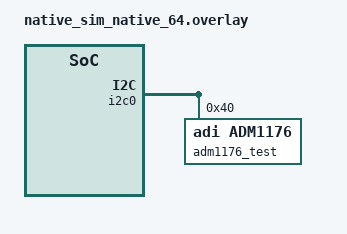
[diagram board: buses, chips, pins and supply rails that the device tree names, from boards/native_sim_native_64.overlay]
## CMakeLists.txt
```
# SPDX-License-Identifier: Apache-2.0

cmake_minimum_required(VERSION 3.20.0)

get_filename_component(ARGUS_ROOT "${CMAKE_CURRENT_LIST_DIR}/../../.." ABSOLUTE)
list(APPEND DTS_ROOT ${ARGUS_ROOT})

find_package(Zephyr REQUIRED HINTS $ENV{ZEPHYR_BASE})
project(adm1176_tests)

target_sources(app PRIVATE
        src/main.c
        src/adm1176_emul.c
        ../../../src/drivers/adm1176.c
)

target_include_directories(app PRIVATE
        ${ARGUS_ROOT}/include
)
```

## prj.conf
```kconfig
CONFIG_ZTEST=y
CONFIG_I2C=y
CONFIG_EMUL=y
CONFIG_SENSOR=y
```

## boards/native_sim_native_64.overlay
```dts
/* SPDX-License-Identifier: Apache-2.0 */

&i2c0 {
	adm1176_test: adm1176@40 {
		compatible = "adi,adm1176";
		reg = <0x40>;
		rshunt-micro-ohms = <10000>;
		status = "okay";
	};
};
```

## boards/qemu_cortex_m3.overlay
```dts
/* SPDX-License-Identifier: Apache-2.0 */

#include <zephyr/dt-bindings/i2c/i2c.h>

/ {
	i2c0: i2c@100 {
		compatible = "zephyr,i2c-emul-controller";
		reg = <0x100 4>;
		clock-frequency = <I2C_BITRATE_STANDARD>;
		#address-cells = <1>;
		#size-cells = <0>;
		status = "okay";

		adm1176_test: adm1176@40 {
			compatible = "adi,adm1176";
			reg = <0x40>;
			rshunt-micro-ohms = <10000>;
			status = "okay";
		};
	};
};
```

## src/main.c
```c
/* SPDX-License-Identifier: Apache-2.0 */

#include <errno.h>
#include <zephyr/drivers/sensor.h>
#include <zephyr/ztest.h>
#include "adm1176_emul.h"
#include "argus/drivers/adm1176.h"

static const struct device *const dev = DEVICE_DT_GET(DT_NODELABEL(adm1176_test));
static const struct emul *const emul = EMUL_DT_GET(DT_NODELABEL(adm1176_test));
static struct adm1176_emul_state *s;

static void *setup(void)
{
	s = adm1176_emul_state(emul);
	zassert_true(device_is_ready(dev));
	zassert_equal(s->command, 0x05);
	zassert_equal(s->alert_enable, 0x04);
	zassert_equal(s->control, 0);
	zassert_equal(adm1176_overcurrent_level(dev), 0xFF);
	return NULL;
}

static void before(void *fixture)
{
	ARG_UNUSED(fixture);
	adm1176_emul_reset(emul);
	zassert_ok(adm1176_config(dev, ADM1176_V_CONT | ADM1176_I_CONT));
	zassert_ok(adm1176_set_overcurrent_level(dev, 0xFF));
}

ZTEST(adm1176, test_voltage_current_and_12_bit_decode)
{
	struct sensor_value value;

	s->sample[0] = 0x80;
	s->sample[1] = 0x40; /* Regression: widen the high byte before shifting. */
	zassert_ok(sensor_sample_fetch(dev));
	zassert_ok(sensor_channel_get(dev, SENSOR_CHAN_VOLTAGE, &value));
	zassert_equal(sensor_value_to_micro(&value), 13175000);
	zassert_ok(sensor_channel_get(dev, SENSOR_CHAN_CURRENT, &value));
	zassert_equal(sensor_value_to_micro(&value), 2646000);
	s->sample[0] = 0xFF;
	s->sample[1] = 0xFF;
	s->sample[2] = 0xFF;
	zassert_ok(sensor_sample_fetch(dev));
	zassert_ok(sensor_channel_get(dev, SENSOR_CHAN_VOLTAGE, &value));
	zassert_equal(sensor_value_to_micro(&value), 26343566);
	zassert_ok(sensor_channel_get(dev, SENSOR_CHAN_CURRENT, &value));
	zassert_equal(sensor_value_to_micro(&value), 10581416);
}

ZTEST(adm1176, test_low_range_and_once_configuration)
{
	struct sensor_value value;

	zassert_ok(adm1176_config(dev, ADM1176_V_ONCE | ADM1176_I_ONCE | ADM1176_VRANGE));
	zassert_equal(s->command, 0x1A);
	s->sample[0] = 0x80;
	zassert_ok(sensor_sample_fetch(dev));
	zassert_ok(sensor_channel_get(dev, SENSOR_CHAN_VOLTAGE, &value));
	zassert_equal(sensor_value_to_micro(&value), 3325000);
}

ZTEST(adm1176, test_single_channel_read_formats)
{
	struct sensor_value value;

	s->sample[0] = 0x80;
	s->sample[1] = 0x40;
	s->sample[2] = 0xAB;
	zassert_ok(adm1176_config(dev, ADM1176_V_CONT));
	zassert_ok(sensor_sample_fetch(dev));
	zassert_ok(sensor_channel_get(dev, SENSOR_CHAN_VOLTAGE, &value));
	zassert_equal(sensor_value_to_micro(&value), 13239331);
	zassert_equal(sensor_channel_get(dev, SENSOR_CHAN_CURRENT, &value), -ENOTSUP);
	zassert_ok(adm1176_config(dev, ADM1176_I_CONT));
	zassert_ok(sensor_sample_fetch(dev));
	zassert_ok(sensor_channel_get(dev, SENSOR_CHAN_CURRENT, &value));
	zassert_equal(sensor_value_to_micro(&value), 2674423);
}

ZTEST(adm1176, test_status_preserves_measurement_configuration)
{
	uint8_t status;

	zassert_ok(adm1176_config(dev, 0x15));
	s->status = 0x3F;
	zassert_ok(adm1176_status(dev, &status));
	zassert_equal(status, 0x3F);
	zassert_equal(s->command, 0x15);
}

ZTEST(adm1176, test_output_switching_and_i2c_error)
{
	bool on;

	zassert_ok(adm1176_set_device_on(dev, false));
	zassert_equal(s->control, 1);
	zassert_ok(adm1176_device_on(dev, &on));
	zassert_false(on);
	zassert_ok(adm1176_set_device_on(dev, true));
	zassert_equal(s->command, 0x05);
	zassert_ok(adm1176_device_on(dev, &on));
	zassert_true(on);
	s->error = -EIO;
	zassert_equal(adm1176_set_device_on(dev, false), -EIO);
	zassert_equal(s->control, 0);
}

ZTEST(adm1176, test_raw_threshold_and_clear)
{
	zassert_ok(adm1176_set_overcurrent_level(dev, 128));
	zassert_equal(s->threshold, 128);
	zassert_equal(adm1176_overcurrent_level(dev), 128);
	s->status = 0x2A;
	zassert_ok(adm1176_clear(dev));
	zassert_equal(s->status, 0);
	zassert_equal(s->alert_enable, 0x06);
	zassert_equal(adm1176_overcurrent_level(dev), 128);
}

ZTEST(adm1176, test_rejects_invalid_config_and_unsupported_channels)
{
	struct sensor_value value;

	zassert_equal(adm1176_config(dev, 0x40), -EINVAL);
	zassert_equal(s->command, 0x05);
	zassert_equal(sensor_sample_fetch_chan(dev, SENSOR_CHAN_POWER), -ENOTSUP);
	zassert_equal(sensor_channel_get(dev, SENSOR_CHAN_POWER, &value), -ENOTSUP);
	s->error = -EIO;
	zassert_equal(adm1176_config(dev, 0x15), -EIO);
	zassert_ok(sensor_sample_fetch(dev));
	zassert_equal(s->command, 0x05);
	zassert_ok(adm1176_config(dev, 0));
	zassert_equal(sensor_sample_fetch(dev), -ENOTSUP);
}

ZTEST(adm1176, test_failed_sample_invalidates_cache_and_recovers)
{
	struct sensor_value value;

	zassert_equal(sensor_channel_get(dev, SENSOR_CHAN_VOLTAGE, &value), -ENODATA);
	zassert_ok(sensor_sample_fetch(dev));
	s->error = -EIO;
	zassert_equal(sensor_sample_fetch(dev), -EIO);
	zassert_equal(sensor_channel_get(dev, SENSOR_CHAN_VOLTAGE, &value), -ENODATA);
	zassert_ok(sensor_sample_fetch(dev));
	zassert_ok(sensor_channel_get(dev, SENSOR_CHAN_VOLTAGE, &value));
}

ZTEST(adm1176, test_status_restore_failure_recovers_on_next_sample)
{
	uint8_t status;

	s->error = -EIO;
	s->skip = 2;
	zassert_equal(adm1176_status(dev, &status), -EIO);
	zassert_equal(s->command, 0x45);
	zassert_ok(sensor_sample_fetch(dev));
	zassert_equal(s->command, 0x05);
}

ZTEST(adm1176, test_status_read_failure_still_restores_command)
{
	uint8_t status;

	s->error = -ETIMEDOUT;
	s->skip = 1;
	zassert_equal(adm1176_status(dev, &status), -ETIMEDOUT);
	zassert_equal(s->command, 0x05);
}

ZTEST(adm1176, test_failed_threshold_writes_keep_last_successful_cache)
{
	zassert_ok(adm1176_set_overcurrent_level(dev, 128));
	for (unsigned int skip = 0; skip < 2; skip++) {
		s->error = -EIO;
		s->skip = skip;
		zassert_equal(adm1176_set_overcurrent_level(dev, 200), -EIO);
		zassert_equal(adm1176_overcurrent_level(dev), 128);
	}
	zassert_ok(adm1176_set_overcurrent_level(dev, 200));
	zassert_equal(adm1176_overcurrent_level(dev), 200);
}

ZTEST(adm1176, test_device_errors_reports_and_clears_adc_alert)
{
	struct adm1176_errors errors;

	s->status = ADM1176_STATUS_ADC_ALERT;
	zassert_ok(adm1176_device_errors(dev, &errors));
	zassert_equal(errors.count, 1);
	zassert_equal(errors.codes[0], 0x16); /* Original Python error code. */
	zassert_equal(s->status, 0);
	zassert_ok(adm1176_device_errors(dev, &errors));
	zassert_equal(errors.count, 0);
	s->status = ADM1176_STATUS_HOT_SWAP_ALERT;
	zassert_ok(adm1176_device_errors(dev, &errors));
	zassert_equal(errors.count, 0); /* Python reports only ADC_ALERT here. */
	zassert_equal(s->status, ADM1176_STATUS_HOT_SWAP_ALERT);
}

ZTEST(adm1176, test_device_errors_propagates_read_and_clear_failures)
{
	struct adm1176_errors errors = {.count = 1, .codes = {0x16}};

	s->status = ADM1176_STATUS_ADC_ALERT;
	s->error = -ETIMEDOUT;
	s->skip = 1;
	zassert_equal(adm1176_device_errors(dev, &errors), -ETIMEDOUT);
	zassert_equal(errors.count, 0);
	zassert_equal(s->status, ADM1176_STATUS_ADC_ALERT);
	s->status = ADM1176_STATUS_ADC_ALERT;
	s->error = -EIO;
	s->skip = 3; /* Status succeeds; the following CLEAR write fails. */
	zassert_equal(adm1176_device_errors(dev, &errors), -EIO);
	zassert_equal(errors.count, 1);
	zassert_equal(errors.codes[0], 0x16);
	zassert_equal(s->status, ADM1176_STATUS_ADC_ALERT);
}

ZTEST_SUITE(adm1176, NULL, setup, before, NULL, NULL);
```

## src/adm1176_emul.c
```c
/* SPDX-License-Identifier: Apache-2.0 */

#define DT_DRV_COMPAT adi_adm1176

#include "adm1176_emul.h"

#include <errno.h>
#include <string.h>
#include <zephyr/drivers/i2c.h>
#include <zephyr/drivers/i2c_emul.h>

struct adm1176_emul_state *adm1176_emul_state(const struct emul *emul)
{
	return emul->data;
}

void adm1176_emul_reset(const struct emul *emul)
{
	struct adm1176_emul_state *s = emul->data;

	memset(s, 0, sizeof(*s));
	s->alert_enable = 0x04;
	s->threshold = 0xFF;
}

static int transfer(const struct emul *emul, struct i2c_msg *msgs, int count, int addr)
{
	struct adm1176_emul_state *s = emul->data;
	struct i2c_msg *m = msgs;

	ARG_UNUSED(addr);
	if (s->error != 0) {
		if (s->skip == 0) {
			int error = s->error;

			s->error = 0;
			return error;
		}
		s->skip--;
	}
	if (count != 1) {
		return -EINVAL;
	}
	if (m->flags & I2C_MSG_READ) {
		bool voltage = (s->command & 0x03) != 0;
		bool current = (s->command & 0x0C) != 0;

		if (s->command & 0x40) {
			if (m->len != 1) {
				return -EIO;
			}
			m->buf[0] = s->status;
		} else if (voltage && current && m->len == 3) {
			memcpy(m->buf, s->sample, 3);
		} else if ((voltage || current) && m->len == 2) {
			m->buf[0] = s->sample[voltage ? 0 : 1];
			m->buf[1] = voltage ? (s->sample[2] & 0xF0) :
				((s->sample[2] & 0x0F) << 4);
		} else {
			return -EIO;
		}
		return 0;
	}
	if (m->len == 1) {
		s->command = m->buf[0];
		return 0;
	}
	if (m->len != 2) {
		return -EINVAL;
	}
	switch (m->buf[0]) {
	case 0x81:
		if (m->buf[1] & 0x10) {
			s->status &= ~0x2A; /* Clear latched alerts, with no active fault. */
		}
		s->alert_enable = m->buf[1] & ~0x10; /* CLEAR self-clears. */
		break;
	case 0x82:
		s->threshold = m->buf[1];
		break;
	case 0x83:
		s->control = m->buf[1];
		s->status = (s->status & ~0x10) | ((s->control & 1) << 4);
		break;
	default:
		return -EINVAL;
	}
	return 0;
}

static int init(const struct emul *emul, const struct device *parent)
{
	ARG_UNUSED(parent);
	adm1176_emul_reset(emul);
	return 0;
}

static const struct i2c_emul_api api = {.transfer = transfer};

#define ADM1176_EMUL_DEFINE(inst) \
	static struct adm1176_emul_state state_##inst; \
	EMUL_DT_INST_DEFINE(inst, init, &state_##inst, NULL, &api, NULL)

DT_INST_FOREACH_STATUS_OKAY(ADM1176_EMUL_DEFINE)
```

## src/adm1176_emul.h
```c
/* SPDX-License-Identifier: Apache-2.0 */

#ifndef ADM1176_EMUL_H_
#define ADM1176_EMUL_H_

#include <stdint.h>
#include <zephyr/drivers/emul.h>

/* Test-only device state; skip successful transfers before injecting error. */
struct adm1176_emul_state {
	uint8_t sample[3];
	uint8_t command, status, alert_enable, threshold, control;
	unsigned int skip;
	int error;
};

struct adm1176_emul_state *adm1176_emul_state(const struct emul *emul);
void adm1176_emul_reset(const struct emul *emul);

#endif
```

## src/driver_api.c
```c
/*
 * Copyright (c) 2026 Carnegie Mellon University
 *
 * SPDX-License-Identifier: Apache-2.0
 */

#include <errno.h>
#include <stdint.h>

#include <zephyr/device.h>
#include <zephyr/devicetree.h>
#include <zephyr/drivers/emul.h>
#include <zephyr/drivers/sensor.h>
#include <zephyr/init.h>
#include <zephyr/ztest.h>

#include "adm1176_emul.h"
#include "argus/drivers/adm1176.h"

#define ADM1176_TEST_COMMAND_CONTINUOUS 0x05U
#define ADM1176_TEST_ALERT_HOT_SWAP 0x04U
#define ADM1176_TEST_ALERT_ADC_OC4 0x02U
#define ADM1176_TEST_RETAINED_ALERT_ENABLE 0x0DU
#define ADM1176_TEST_RETAINED_THRESHOLD 0x37U

/* Seed write-only hardware state after I2C init but before the sensor driver,
 * modeling an MCU reboot while the power monitor remains powered.
 */
BUILD_ASSERT(CONFIG_I2C_INIT_PRIORITY < 89 && CONFIG_SENSOR_INIT_PRIORITY > 89);

static int adm1176_seed_warm_boot(void)
{
	adm1176_emul_seed_retained_config(
		EMUL_DT_GET(DT_NODELABEL(adm1176_test)),
		ADM1176_TEST_RETAINED_ALERT_ENABLE,
		ADM1176_TEST_RETAINED_THRESHOLD, 1U);
	return 0;
}

SYS_INIT(adm1176_seed_warm_boot, POST_KERNEL, 89);

struct adm1176_driver_fixture {
	const struct device *dev;
	const struct emul *emul;
};

static void *adm1176_driver_setup(void)
{
	static struct adm1176_driver_fixture fixture = {
		.dev = DEVICE_DT_GET(DT_NODELABEL(adm1176_test)),
		.emul = EMUL_DT_GET(DT_NODELABEL(adm1176_test)),
	};
	uint64_t threshold;
	struct sensor_value value;

	zassert_true(device_is_ready(fixture.dev));
	zassert_equal(adm1176_emul_get_command(fixture.emul),
		      ADM1176_TEST_COMMAND_CONTINUOUS);
	zassert_equal(adm1176_emul_get_alert_enable(fixture.emul),
		      ADM1176_TEST_RETAINED_ALERT_ENABLE);
	zassert_equal(adm1176_emul_get_threshold(fixture.emul),
		      ADM1176_TEST_RETAINED_THRESHOLD);
	zassert_equal(adm1176_emul_get_control(fixture.emul), 1U);
	zassert_equal(adm1176_get_overcurrent_threshold(fixture.dev, &threshold),
		      -ENODATA);
	zassert_equal(adm1176_clear_alerts(fixture.dev), -ENODATA);
	zassert_equal(adm1176_emul_get_alert_enable(fixture.emul),
		      ADM1176_TEST_RETAINED_ALERT_ENABLE);
	zassert_equal(sensor_channel_get(fixture.dev, SENSOR_CHAN_VOLTAGE, &value),
		      -ENODATA);
	return &fixture;
}

static void adm1176_driver_before(void *fixture_ptr)
{
	struct adm1176_driver_fixture *fixture = fixture_ptr;

	adm1176_emul_reset(fixture->emul);
	zassert_ok(adm1176_set_overcurrent_threshold_raw(fixture->dev, UINT8_MAX));
}

ZTEST_F(adm1176_driver, test_device_initializes_in_continuous_mode)
{
	zassert_true(device_is_ready(fixture->dev));
	zassert_equal(adm1176_emul_get_command(fixture->emul),
		      ADM1176_TEST_COMMAND_CONTINUOUS);
}

ZTEST_F(adm1176_driver, test_sensor_api_reads_voltage_current_and_power)
{
	const uint8_t measurement[3] = {0x80, 0x40, 0x00};
	struct sensor_value value;

	adm1176_emul_set_measurement(fixture->emul, measurement);
	zassert_ok(sensor_sample_fetch(fixture->dev));

	zassert_ok(sensor_channel_get(fixture->dev, SENSOR_CHAN_VOLTAGE, &value));
	zassert_equal(sensor_value_to_micro(&value), 13175000LL);
	zassert_ok(sensor_channel_get(fixture->dev, SENSOR_CHAN_CURRENT, &value));
	zassert_equal(sensor_value_to_micro(&value), 2646000LL);
	zassert_ok(sensor_channel_get(fixture->dev, SENSOR_CHAN_POWER, &value));
	zassert_equal(sensor_value_to_micro(&value), 34861050LL);
}

ZTEST_F(adm1176_driver, test_sensor_api_rejects_unsupported_channel)
{
	struct sensor_value value;

	zassert_equal(sensor_sample_fetch_chan(fixture->dev,
					       SENSOR_CHAN_AMBIENT_TEMP),
		      -ENOTSUP);
	zassert_equal(sensor_channel_get(fixture->dev, SENSOR_CHAN_AMBIENT_TEMP,
					 &value), -ENOTSUP);
}

ZTEST_F(adm1176_driver, test_status_read_decodes_flags_and_restores_command)
{
	struct adm1176_status_flags status;

	adm1176_emul_set_status(fixture->emul,
				 ADM1176_STATUS_ADC_ALERT | ADM1176_STATUS_OFF);
	zassert_ok(adm1176_get_status_flags(fixture->dev, &status));
	zassert_true(status.adc_alert);
	zassert_true(status.output_off);
	zassert_false(status.hot_swap_alert);
	zassert_equal(adm1176_emul_get_command(fixture->emul),
		      ADM1176_TEST_COMMAND_CONTINUOUS);
}

ZTEST_F(adm1176_driver, test_hot_swap_output_can_be_disabled_and_enabled)
{
	zassert_ok(adm1176_set_enabled(fixture->dev, false));
	zassert_equal(adm1176_emul_get_control(fixture->emul), 1U);
	bool enabled;

	zassert_ok(adm1176_is_enabled(fixture->dev, &enabled));
	zassert_false(enabled);

	zassert_ok(adm1176_set_enabled(fixture->dev, true));
	zassert_equal(adm1176_emul_get_control(fixture->emul), 0U);
	zassert_ok(adm1176_is_enabled(fixture->dev, &enabled));
	zassert_true(enabled);
	zassert_equal(adm1176_emul_get_command(fixture->emul),
		      ADM1176_TEST_COMMAND_CONTINUOUS);
}

ZTEST_F(adm1176_driver, test_overcurrent_threshold_and_alert_clear)
{
	uint64_t current_ua;

	zassert_ok(adm1176_set_overcurrent_threshold(fixture->dev, 5292000ULL));
	zassert_equal(adm1176_emul_get_alert_enable(fixture->emul),
		      ADM1176_TEST_ALERT_HOT_SWAP | ADM1176_TEST_ALERT_ADC_OC4);
	zassert_equal(adm1176_emul_get_threshold(fixture->emul), 128U);
	zassert_ok(adm1176_get_overcurrent_threshold(fixture->dev, &current_ua));
	zassert_equal(current_ua, 5292000ULL);

	adm1176_emul_set_status(fixture->emul, ADM1176_STATUS_ADC_ALERT |
			       ADM1176_STATUS_HOT_SWAP_ALERT | ADM1176_STATUS_OFF_ALERT);
	zassert_ok(adm1176_clear_alerts(fixture->dev));
	zassert_equal(adm1176_emul_get_alert_enable(fixture->emul),
		      ADM1176_TEST_ALERT_HOT_SWAP | ADM1176_TEST_ALERT_ADC_OC4);
	uint8_t status;

	zassert_ok(adm1176_read_status(fixture->dev, &status));
	zassert_equal(status, 0U);
}

ZTEST_F(adm1176_driver, test_fetch_recovers_after_status_restore_failure)
{
	uint8_t status;
	const uint8_t measurement[3] = {0x80, 0x40, 0x00};
	struct sensor_value value;

	adm1176_emul_set_measurement(fixture->emul, measurement);
	adm1176_emul_fail_after(fixture->emul, 2U, -EIO);
	zassert_equal(adm1176_read_status(fixture->dev, &status), -EIO);
	zassert_equal(adm1176_emul_get_command(fixture->emul), 0x45U);
	zassert_ok(sensor_sample_fetch(fixture->dev));
	zassert_equal(adm1176_emul_get_command(fixture->emul), 0x05U);
	zassert_ok(sensor_channel_get(fixture->dev, SENSOR_CHAN_VOLTAGE, &value));
	zassert_equal(sensor_value_to_micro(&value), 13175000LL);
}

ZTEST_F(adm1176_driver, test_status_read_failure_still_restores_command)
{
	uint8_t status;

	adm1176_emul_fail_after(fixture->emul, 1U, -EIO);
	zassert_equal(adm1176_read_status(fixture->dev, &status), -EIO);
	zassert_equal(adm1176_emul_get_command(fixture->emul), 0x05U);
	zassert_ok(adm1176_read_status(fixture->dev, &status));
}

ZTEST_F(adm1176_driver, test_failed_sample_read_invalidates_old_data)
{
	struct sensor_value value;

	zassert_ok(sensor_sample_fetch(fixture->dev));
	adm1176_emul_fail_after(fixture->emul, 1U, -EIO);
	zassert_equal(sensor_sample_fetch(fixture->dev), -EIO);
	zassert_equal(sensor_channel_get(fixture->dev, SENSOR_CHAN_CURRENT, &value),
		      -ENODATA);
	zassert_ok(sensor_sample_fetch(fixture->dev));
	zassert_ok(sensor_channel_get(fixture->dev, SENSOR_CHAN_CURRENT, &value));
}

ZTEST_F(adm1176_driver, test_failed_measurement_command_invalidates_old_data)
{
	struct sensor_value value;

	zassert_ok(sensor_sample_fetch(fixture->dev));
	adm1176_emul_fail_after(fixture->emul, 0U, -EIO);
	zassert_equal(sensor_sample_fetch(fixture->dev), -EIO);
	zassert_equal(sensor_channel_get(fixture->dev, SENSOR_CHAN_POWER, &value),
		      -ENODATA);
}

ZTEST_F(adm1176_driver, test_failed_threshold_write_invalidates_policy)
{
	uint64_t threshold;

	adm1176_emul_fail_after(fixture->emul, 0U, -EIO);
	zassert_equal(adm1176_set_overcurrent_threshold_raw(fixture->dev, 128U), -EIO);
	zassert_equal(adm1176_get_overcurrent_threshold(fixture->dev, &threshold),
		      -ENODATA);
	zassert_equal(adm1176_clear_alerts(fixture->dev), -ENODATA);
	zassert_ok(adm1176_set_overcurrent_threshold_raw(fixture->dev, 128U));
	zassert_ok(adm1176_get_overcurrent_threshold(fixture->dev, &threshold));
	zassert_equal(threshold, 5292000ULL);
}

ZTEST_F(adm1176_driver, test_partial_configuration_invalidates_policy)
{
	uint64_t threshold;

	adm1176_emul_fail_after(fixture->emul, 1U, -EIO);
	zassert_equal(adm1176_set_overcurrent_threshold_raw(fixture->dev, 128U), -EIO);
	zassert_equal(adm1176_emul_get_threshold(fixture->emul), 128U);
	zassert_equal(adm1176_get_overcurrent_threshold(fixture->dev, &threshold),
		      -ENODATA);
	zassert_equal(adm1176_clear_alerts(fixture->dev), -ENODATA);
	zassert_ok(adm1176_set_overcurrent_threshold_raw(fixture->dev, 128U));
	zassert_ok(adm1176_clear_alerts(fixture->dev));
}

ZTEST_F(adm1176_driver, test_failed_clear_requires_explicit_configuration_retry)
{
	uint64_t threshold;

	adm1176_emul_fail_after(fixture->emul, 0U, -EIO);
	zassert_equal(adm1176_clear_alerts(fixture->dev), -EIO);
	zassert_equal(adm1176_get_overcurrent_threshold(fixture->dev, &threshold),
		      -ENODATA);
	zassert_equal(adm1176_clear_alerts(fixture->dev), -ENODATA);
	zassert_ok(adm1176_set_overcurrent_threshold_raw(fixture->dev, 128U));
	zassert_ok(adm1176_clear_alerts(fixture->dev));
}

ZTEST_F(adm1176_driver, test_failed_output_write_is_reported)
{
	adm1176_emul_fail_after(fixture->emul, 0U, -EIO);
	zassert_equal(adm1176_set_enabled(fixture->dev, false), -EIO);
	zassert_equal(adm1176_emul_get_control(fixture->emul), 0U);
}

ZTEST_SUITE(adm1176_driver, NULL, adm1176_driver_setup,
		    adm1176_driver_before, NULL, NULL);
```
